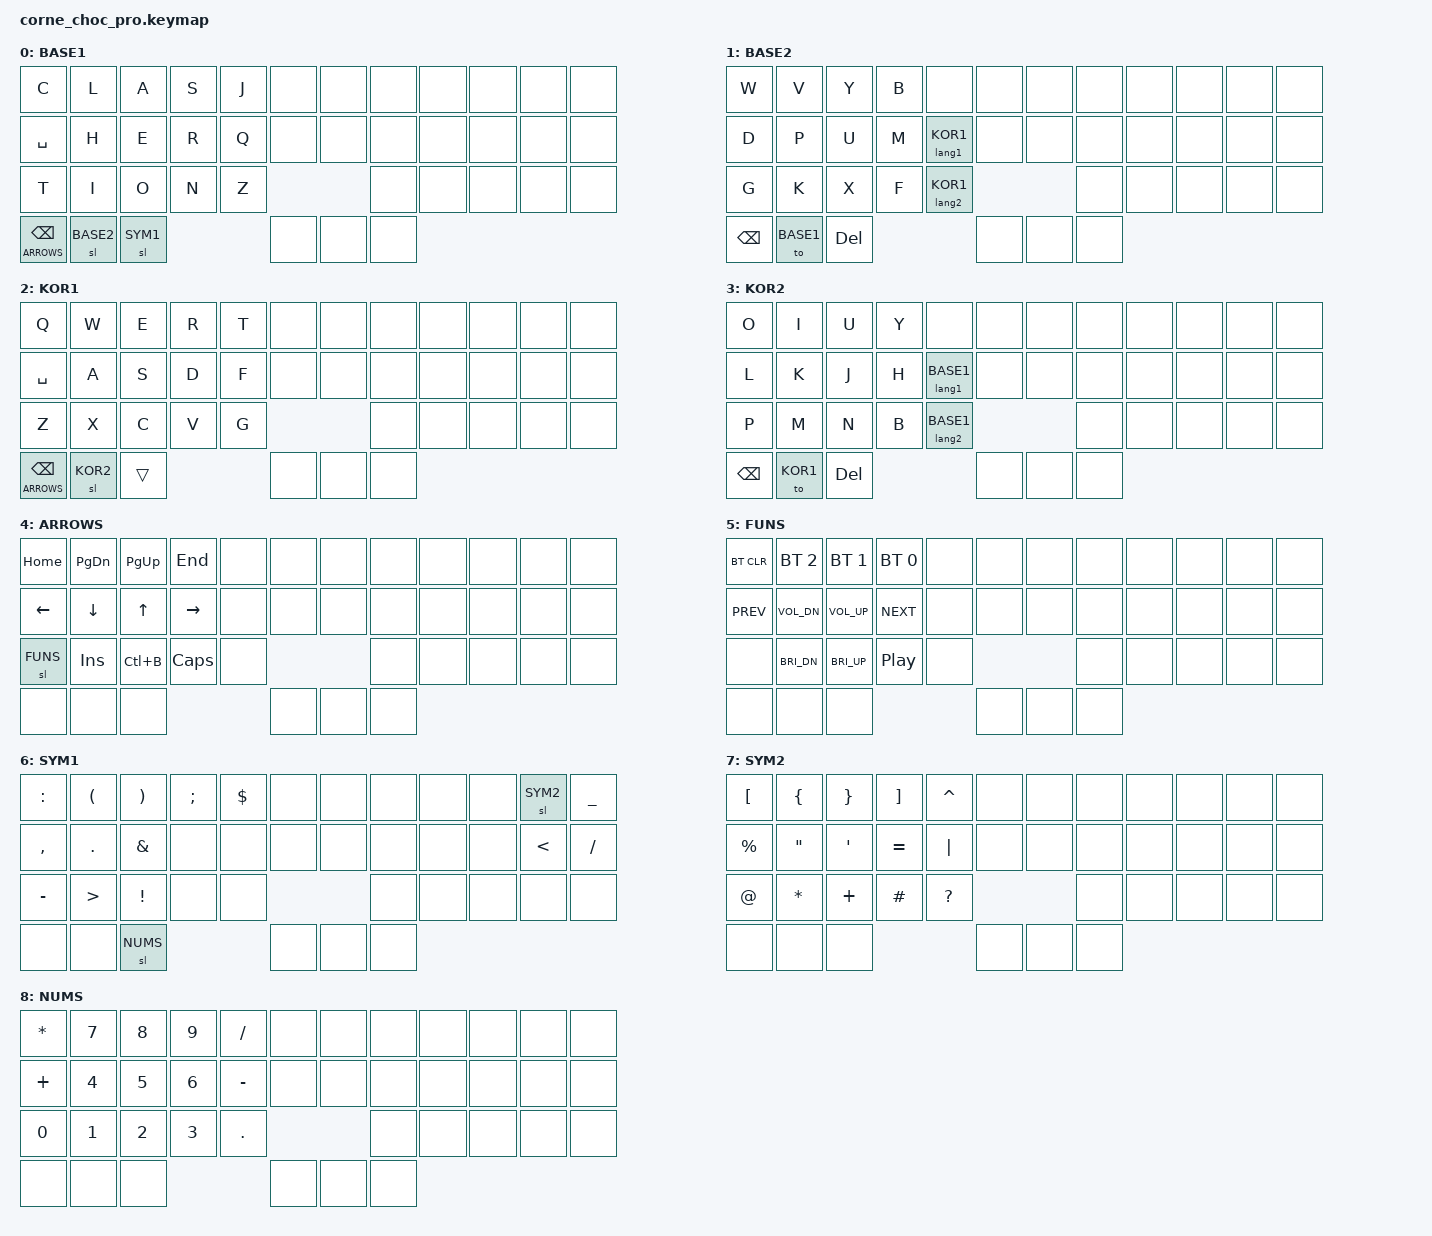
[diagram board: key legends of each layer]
/*
 * Copyright (c) 2020 The ZMK Contributors
 *
 * SPDX-License-Identifier: MIT
 */

#include <behaviors.dtsi>
#include <dt-bindings/zmk/keys.h>
#include <dt-bindings/zmk/bt.h>

#define BASE1  0
#define BASE2  1
#define KOR1   2
#define KOR2   3
#define ARROWS 4
#define FUNS   5
#define SYM1   6
#define SYM2   7
#define NUMS   8

/ {
   chosen {
      zmk,physical-layout = &five_col_layout;
   };
};

&sl {
    release-after-ms = <500>;
    quick-release;
};

&sk {
    release-after-ms = <500>;
    quick-release;
};

/ {
   macros {
      lang1: lang1 {
         compatible = "zmk,behavior-macro-one-param";
         wait-ms = <0>;
         tap-ms = <0>;
         #binding-cells = <1>;
         bindings =
            <&macro_tap &kp LC(SPACE)>
            , <&macro_param_1to1>
            , <&macro_tap &to MACRO_PLACEHOLDER>;
      };
      lang2: lang2 {
         compatible = "zmk,behavior-macro-one-param";
         wait-ms = <0>;
         tap-ms = <0>;
         #binding-cells = <1>;
         bindings =
            <&macro_param_1to1>
            , <&macro_tap &to MACRO_PLACEHOLDER>;
      };
   };
   combos {
        compatible = "zmk,combos";
        combo_f1 {
            key-positions = <16 25>;
            bindings = <&kp F1>;
            layers = <8>;
        };
        combo_f2 {
            key-positions = <16 26>;
            bindings = <&kp F2>;
            layers = <8>;
        };
        combo_f3 {
            key-positions = <16 27>;
            bindings = <&kp F3>;
            layers = <8>;
        };
        combo_f4 {
            key-positions = <16 13>;
            bindings = <&kp F4>;
            layers = <8>;
        };
        combo_f5 {
            key-positions = <16 14>;
            bindings = <&kp F5>;
            layers = <8>;
        };
        combo_f6 {
            key-positions = <16 15>;
            bindings = <&kp F6>;
            layers = <8>;
        };
        combo_f7 {
            key-positions = <16 1>;
            bindings = <&kp F7>;
            layers = <8>;
        };
        combo_f8 {
            key-positions = <16 2>;
            bindings = <&kp F8>;
            layers = <8>;
        };
        combo_f9 {
            key-positions = <16 3>;
            bindings = <&kp F9>;
            layers = <8>;
        };
        combo_f10 {
            key-positions = <16 24>;
            bindings = <&kp F10>;
            layers = <8>;
        };
        combo_f11 {
            key-positions = <16 12>;
            bindings = <&kp F11>;
            layers = <8>;
        };
        combo_f12 {
            key-positions = <16 0>;
            bindings = <&kp F12>;
            layers = <8>;
        };
        combo_tilde {
            key-positions = <25 26>;
            bindings = <&kp TILDE>;
            layers = <7>;
        };
        combo_bslh {
            key-positions = <25 26>;
            bindings = <&kp BSLH>;
            layers = <6>;
        };
        combo_grave {
            key-positions = <13 14>;
            bindings = <&kp GRAVE>;
            layers = <7>;
        };
        combo_n0 {
            key-positions = <13 14>;
            bindings = <&kp N0>;
            layers = <6>;
        };
        combo_n1 {
            key-positions = <13 26>;
            bindings = <&kp N1>;
            layers = <6>;
        };
        combo_lshft {
            key-positions = <14 15>;
            bindings = <&sk LSHFT>;
            layers = <0 1 2 3 6 7>;
        };
        combo_cw {
            key-positions = <13 15>;
            bindings = <&caps_word>;
            layers = <0 1 2 3 6 7>;
        };
        combo_tab {
            key-positions = <13 14>;
            bindings = <&kp TAB>;
            layers = <0 1 2 3>;
        };
        combo_esc {
            key-positions = <2 3>;
            bindings = <&kp ESC>;
            layers = <0 1 2 3 6 7>;
        };
        combo_ret {
            key-positions = <26 27>;
            bindings = <&kp RET>;
            layers = <0 1 2 3 6 7>;
        };
        combo_lcmd {
            key-positions = <15 16>;
            bindings = <&sk LCMD>;
            layers = <0 1 2 3 6 7>;
        };
        combo_lctrl {
            key-positions = <27 28>;
            bindings = <&sk LCTRL>;
            layers = <0 1 2 3 6 7>;
        };
        combo_lalt {
            key-positions = <3 4>;
            bindings = <&sk LALT>;
            layers = <0 1 2 3 6 7>;
        };
    };
   keymap {
      compatible = "zmk,keymap";
      base1_layer {
         display-name = "BASE1";
         bindings = <
            &kp C     &kp L &kp A &kp S &kp J &none &none &none &none &none &none &none
            &kp SPACE &kp H &kp E &kp R &kp Q &none &none &none &none &none &none &none
            &kp T     &kp I &kp O &kp N &kp Z               &none &none &none &none &none
            &lt ARROWS BSPC &sl BASE2 &sl SYM1 &none &none &none
            >;
      };
      base2_layer {
         display-name = "BASE2";
         bindings = <
            &kp W &kp V &kp Y &kp B &none       &none &none &none &none &none &none &none
            &kp D &kp P &kp U &kp M &lang1 KOR1 &none &none &none &none &none &none &none
            &kp G &kp K &kp X &kp F &lang2 KOR1             &none &none &none &none &none
            &kp BSPC &to BASE1 &kp DEL &none &none &none
            >;
      };
      kor1_layer {
         display-name = "KOR1";
         bindings = <
            &kp Q     &kp W &kp E &kp R &kp T &none &none &none &none &none &none &none
            &kp SPACE &kp A &kp S &kp D &kp F &none &none &none &none &none &none &none
            &kp Z     &kp X &kp C &kp V &kp G             &none &none &none &none &none
            &lt ARROWS BSPC &sl KOR2 &trans &none &none &none
            >;
      };
      kor2_layer {
         display-name = "KOR2";
         bindings = <
            &kp O &kp I &kp U &kp Y &none        &none &none &none &none &none &none &none
            &kp L &kp K &kp J &kp H &lang1 BASE1 &none &none &none &none &none &none &none
            &kp P &kp M &kp N &kp B &lang2 BASE1             &none &none &none &none &none
            &kp BSPC &to KOR1 &kp DEL &none &none &none
            >;
      };
      arrows_layer {
         display-name = "ARROWS";
         bindings = <
            &kp HOME &kp PG_DN &kp PG_UP &kp END   &none &none &none &none &none &none &none &none
            &kp LEFT &kp DOWN  &kp UP    &kp RIGHT &none &none &none &none &none &none &none &none
            &sl FUNS &kp INS   &kp LC(B) &kp CAPS  &none             &none &none &none &none &none
            &none &none &none &none &none &none
            >;
      };
      funs_layer {
         display-name = "FUNS";
         bindings = <
            &bt BT_CLR &bt BT_SEL 2 &bt BT_SEL 1 &bt BT_SEL 0 &none &none &none &none &none &none &none &none
            &kp C_PREV &kp C_VOL_DN &kp C_VOL_UP &kp C_NEXT   &none &none &none &none &none &none &none &none
            &none      &kp C_BRI_DN &kp C_BRI_UP &kp C_PP     &none             &none &none &none &none &none
            &none &none &none &none &none &none
            >;
      };
      sym1_layer {
         display-name = "SYM1";
         bindings = <
            &kp COLON &kp LPAR  &kp RPAR  &kp SEMI &kp DLLR             &none &none &none &none &none
            &sl SYM2  &kp UNDER &kp COMMA &kp DOT  &kp AMPS  &none &none &none &none &none &none &none
            &kp LT    &kp FSLH  &kp MINUS &kp GT   &kp EXCL  &none &none &none &none &none &none &none
            &none &none &sl NUMS &none &none &none
            >;
      };
      sym2_layer {
         display-name = "SYM2";
         bindings = <
            &kp LBKT  &kp LBRC &kp RBRC &kp RBKT &kp CARET &none &none &none &none &none &none &none
            &kp PRCNT &kp DQT  &kp SQT  &kp EQL  &kp PIPE  &none &none &none &none &none &none &none
            &kp AT    &kp STAR &kp PLUS &kp HASH &kp QMARK             &none &none &none &none &none
            &none &none &none &none &none &none
            >;
      };
      nums_layer {
         display-name = "NUMS";
         bindings = <
            &kp STAR &kp N7 &kp N8 &kp N9 &kp FSLH  &none &none &none &none &none &none &none
            &kp PLUS &kp N4 &kp N5 &kp N6 &kp MINUS &none &none &none &none &none &none &none
            &kp N0   &kp N1 &kp N2 &kp N3 &kp DOT               &none &none &none &none &none
            &none &none &none &none &none &none
            >;
      };
   };
};
